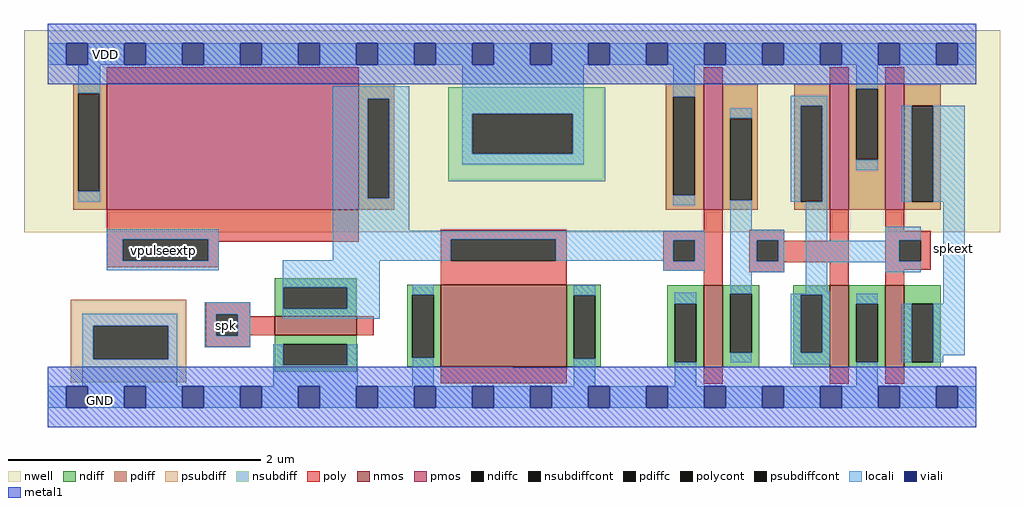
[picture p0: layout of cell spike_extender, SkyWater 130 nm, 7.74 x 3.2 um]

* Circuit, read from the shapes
.subckt spike_extender spk vpulseextp spkext GND VDD
XM1 n1 spk GND GND sky130_fd_pr__nfet_01v8 w=0.65 l=0.15
XM2 GND n1 GND GND sky130_fd_pr__nfet_01v8 w=0.65 l=1
XM3 n2 n1 GND GND sky130_fd_pr__nfet_01v8 w=0.65 l=0.15
XM4 GND n2 n3 GND sky130_fd_pr__nfet_01v8 w=0.65 l=0.15
XM5 spkext n3 GND GND sky130_fd_pr__nfet_01v8 w=0.65 l=0.15
XM6 n1 vpulseextp VDD VDD sky130_fd_pr__pfet_01v8 w=1 l=2
XM7 n2 n1 VDD VDD sky130_fd_pr__pfet_01v8 w=1 l=0.15
XM8 VDD n2 n3 VDD sky130_fd_pr__pfet_01v8 w=1 l=0.15
XM9 spkext n3 VDD VDD sky130_fd_pr__pfet_01v8 w=1 l=0.15
.ends

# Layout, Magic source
magic
tech sky130A
magscale 1 2
<< nwell >>
rect -38 261 1510 582
<< nmos >>
rect 360 98 490 128
rect 623 48 823 178
rect 1040 47 1070 177
rect 1240 47 1270 177
rect 1328 47 1358 177
<< pmos >>
rect 93 297 493 497
rect 1040 297 1070 497
rect 1240 297 1270 497
rect 1328 297 1358 497
<< ndiff >>
rect 360 174 490 188
rect 360 140 373 174
rect 475 140 490 174
rect 360 128 490 140
rect 570 162 623 178
rect 360 84 490 98
rect 360 50 373 84
rect 475 50 490 84
rect 360 40 490 50
rect 570 62 578 162
rect 612 62 623 162
rect 570 48 623 62
rect 823 161 877 178
rect 823 61 834 161
rect 868 61 877 161
rect 823 48 877 61
rect 982 148 1040 177
rect 982 55 994 148
rect 1028 55 1040 148
rect 982 47 1040 55
rect 1070 164 1128 177
rect 1070 70 1082 164
rect 1116 70 1128 164
rect 1070 47 1128 70
rect 1182 162 1240 177
rect 1182 70 1194 162
rect 1228 70 1240 162
rect 1182 47 1240 70
rect 1270 148 1328 177
rect 1270 55 1282 148
rect 1316 55 1328 148
rect 1270 47 1328 55
rect 1358 148 1416 177
rect 1358 55 1370 148
rect 1404 55 1416 148
rect 1358 47 1416 55
<< pdiff >>
rect 40 482 93 497
rect 40 326 48 482
rect 82 326 93 482
rect 40 297 93 326
rect 493 473 549 497
rect 493 315 507 473
rect 541 315 549 473
rect 980 476 1040 497
rect 493 297 549 315
rect 980 320 992 476
rect 1026 320 1040 476
rect 980 297 1040 320
rect 1070 442 1126 497
rect 1070 312 1082 442
rect 1116 312 1126 442
rect 1070 297 1126 312
rect 1184 462 1240 497
rect 1184 310 1194 462
rect 1228 310 1240 462
rect 1184 297 1240 310
rect 1270 489 1328 497
rect 1270 376 1282 489
rect 1316 376 1328 489
rect 1270 297 1328 376
rect 1358 462 1416 497
rect 1358 310 1370 462
rect 1404 310 1416 462
rect 1358 297 1416 310
<< ndiffc >>
rect 373 140 475 174
rect 373 50 475 84
rect 578 62 612 162
rect 834 61 868 161
rect 994 55 1028 148
rect 1082 70 1116 164
rect 1194 70 1228 162
rect 1282 55 1316 148
rect 1370 55 1404 148
<< pdiffc >>
rect 48 326 82 482
rect 507 315 541 473
rect 992 320 1026 476
rect 1082 312 1116 442
rect 1194 310 1228 462
rect 1282 376 1316 489
rect 1370 310 1404 462
<< psubdiff >>
rect 36 113 219 154
rect 36 60 72 113
rect 191 60 219 113
rect 36 23 219 60
<< nsubdiff >>
rect 635 449 884 491
rect 635 386 673 449
rect 832 386 884 449
rect 635 342 884 386
<< psubdiffcont >>
rect 72 60 191 113
<< nsubdiffcont >>
rect 673 386 832 449
<< poly >>
rect 93 497 493 523
rect 1040 497 1070 523
rect 1240 497 1270 523
rect 1328 497 1358 523
rect 93 250 493 297
rect 93 216 119 250
rect 254 246 493 250
rect 623 250 823 265
rect 1040 264 1070 297
rect 254 216 271 246
rect 93 206 271 216
rect 623 216 639 250
rect 805 216 823 250
rect 623 178 823 216
rect 976 249 1070 264
rect 976 215 992 249
rect 1026 215 1070 249
rect 976 200 1070 215
rect 250 131 321 150
rect 250 97 267 131
rect 301 128 321 131
rect 301 98 360 128
rect 490 98 517 128
rect 301 97 321 98
rect 250 80 321 97
rect 1040 177 1070 200
rect 1112 249 1168 265
rect 1112 215 1124 249
rect 1158 248 1168 249
rect 1240 248 1270 297
rect 1158 215 1270 248
rect 1112 214 1270 215
rect 1112 198 1168 214
rect 1240 177 1270 214
rect 1328 264 1358 297
rect 1328 249 1400 264
rect 1328 215 1350 249
rect 1384 215 1400 249
rect 1328 202 1400 215
rect 1328 177 1358 202
rect 623 22 823 48
rect 1040 21 1070 47
rect 1240 21 1270 47
rect 1328 21 1358 47
<< polycont >>
rect 119 216 254 250
rect 639 216 805 250
rect 992 215 1026 249
rect 267 97 301 131
rect 1124 215 1158 249
rect 1350 215 1384 249
<< locali >>
rect 0 527 29 561
rect 63 527 121 561
rect 155 527 213 561
rect 247 527 305 561
rect 339 527 397 561
rect 431 527 489 561
rect 523 527 581 561
rect 615 527 673 561
rect 707 527 765 561
rect 799 527 857 561
rect 891 527 949 561
rect 983 527 1041 561
rect 1075 527 1133 561
rect 1167 527 1225 561
rect 1259 527 1317 561
rect 1351 527 1409 561
rect 1443 527 1472 561
rect 48 482 83 527
rect 82 326 83 482
rect 48 310 83 326
rect 452 473 573 493
rect 452 315 507 473
rect 541 315 573 473
rect 657 449 850 527
rect 657 386 673 449
rect 832 386 850 449
rect 657 369 850 386
rect 992 476 1026 527
rect 1282 489 1316 527
rect 93 250 271 266
rect 93 216 119 250
rect 254 216 271 250
rect 452 264 573 315
rect 1178 462 1236 478
rect 992 304 1026 320
rect 1082 442 1116 458
rect 1082 265 1116 312
rect 1178 310 1194 462
rect 1228 310 1236 462
rect 1282 360 1316 376
rect 1354 310 1370 462
rect 1404 310 1454 462
rect 452 250 1042 264
rect 452 217 639 250
rect 93 201 271 216
rect 372 216 639 217
rect 805 249 1042 250
rect 805 216 992 249
rect 372 174 526 216
rect 976 215 992 216
rect 1026 215 1042 249
rect 976 200 1042 215
rect 1082 249 1168 265
rect 1082 215 1124 249
rect 1158 215 1168 249
rect 1082 198 1168 215
rect 1202 248 1236 310
rect 1328 249 1384 270
rect 1328 248 1350 249
rect 1202 215 1350 248
rect 1202 214 1384 215
rect 54 113 205 132
rect 54 60 72 113
rect 191 60 205 113
rect 249 131 321 150
rect 249 97 267 131
rect 301 97 321 131
rect 372 140 373 174
rect 475 140 526 174
rect 372 124 526 140
rect 578 162 612 178
rect 249 79 321 97
rect 54 17 205 60
rect 357 50 373 84
rect 475 50 491 84
rect 357 17 491 50
rect 578 17 612 62
rect 834 161 868 177
rect 834 17 868 61
rect 994 148 1028 166
rect 994 17 1028 55
rect 1082 164 1116 198
rect 1202 168 1236 214
rect 1328 198 1384 214
rect 1202 164 1240 168
rect 1082 54 1116 70
rect 1178 162 1240 164
rect 1178 70 1194 162
rect 1228 70 1240 162
rect 1178 52 1240 70
rect 1282 148 1316 164
rect 1420 148 1454 310
rect 1354 55 1370 148
rect 1404 66 1454 148
rect 1404 55 1420 66
rect 1282 17 1316 55
rect 0 -17 29 17
rect 63 -17 121 17
rect 155 -17 213 17
rect 247 -17 305 17
rect 339 -17 397 17
rect 431 -17 489 17
rect 523 -17 581 17
rect 615 -17 673 17
rect 707 -17 765 17
rect 799 -17 857 17
rect 891 -17 949 17
rect 983 -17 1041 17
rect 1075 -17 1133 17
rect 1167 -17 1225 17
rect 1259 -17 1317 17
rect 1351 -17 1409 17
rect 1443 -17 1472 17
<< viali >>
rect 29 527 63 561
rect 121 527 155 561
rect 213 527 247 561
rect 305 527 339 561
rect 397 527 431 561
rect 489 527 523 561
rect 581 527 615 561
rect 673 527 707 561
rect 765 527 799 561
rect 857 527 891 561
rect 949 527 983 561
rect 1041 527 1075 561
rect 1133 527 1167 561
rect 1225 527 1259 561
rect 1317 527 1351 561
rect 1409 527 1443 561
rect 29 -17 63 17
rect 121 -17 155 17
rect 213 -17 247 17
rect 305 -17 339 17
rect 397 -17 431 17
rect 489 -17 523 17
rect 581 -17 615 17
rect 673 -17 707 17
rect 765 -17 799 17
rect 857 -17 891 17
rect 949 -17 983 17
rect 1041 -17 1075 17
rect 1133 -17 1167 17
rect 1225 -17 1259 17
rect 1317 -17 1351 17
rect 1409 -17 1443 17
<< metal1 >>
rect 0 561 1472 592
rect 0 527 29 561
rect 63 527 121 561
rect 155 527 213 561
rect 247 527 305 561
rect 339 527 397 561
rect 431 527 489 561
rect 523 527 581 561
rect 615 527 673 561
rect 707 527 765 561
rect 799 527 857 561
rect 891 527 949 561
rect 983 527 1041 561
rect 1075 527 1133 561
rect 1167 527 1225 561
rect 1259 527 1317 561
rect 1351 527 1409 561
rect 1443 527 1472 561
rect 0 496 1472 527
rect 0 47 736 48
rect 826 47 1472 48
rect 0 17 1472 47
rect 0 -17 29 17
rect 63 -17 121 17
rect 155 -17 213 17
rect 247 -17 305 17
rect 339 -17 397 17
rect 431 -17 489 17
rect 523 -17 581 17
rect 615 -17 673 17
rect 707 -17 765 17
rect 799 -17 857 17
rect 891 -17 949 17
rect 983 -17 1041 17
rect 1075 -17 1133 17
rect 1167 -17 1225 17
rect 1259 -17 1317 17
rect 1351 -17 1409 17
rect 1443 -17 1472 17
rect 0 -48 1472 -17
<< labels >>
flabel locali 282 112 284 114 1 FreeSans 320 0 0 0 spk
port 1 n
flabel locali 1436 234 1438 236 1 FreeSans 320 0 0 0 spkext
port 3 n
flabel metal1 82 -6 84 -4 1 FreeSans 320 0 0 0 GND
port 4 n
flabel metal1 90 542 92 544 1 FreeSans 320 0 0 0 VDD
port 5 n
flabel locali 182 232 184 234 1 FreeSans 320 0 0 0 vpulseextp
port 2 n
<< properties >>
string MASKHINTS_NSDM 0 -38 1485 203
string MASKHINTS_PSDM 0 272 200 582 1285 272 1485 582
<< end >>
